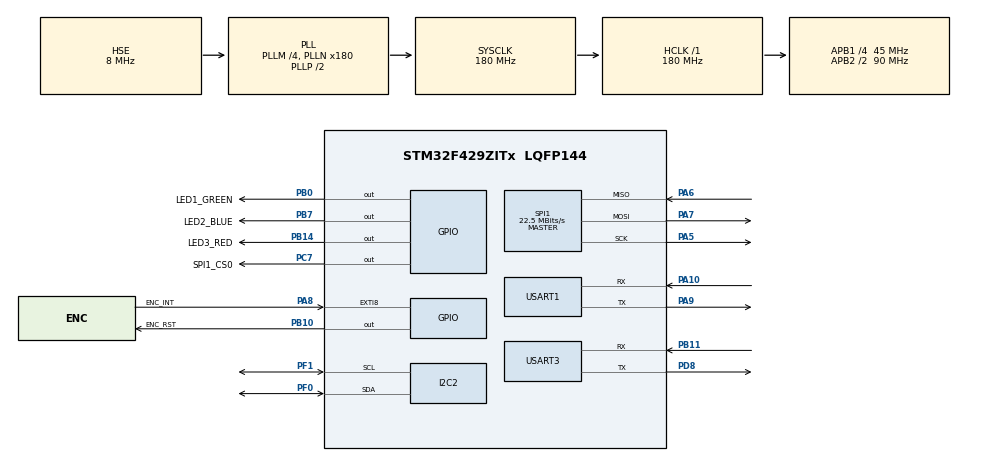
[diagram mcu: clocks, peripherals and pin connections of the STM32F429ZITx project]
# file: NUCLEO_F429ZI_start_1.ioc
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Mcu.Family=STM32F4
Mcu.Name=STM32F429ZITx
Mcu.Package=LQFP144
NVIC.EXTI9_5_IRQn=true\:0\:0\:false\:false\:true\:true
NVIC.PriorityGroup=NVIC_PRIORITYGROUP_4
PA10.Mode=Asynchronous
PA10.Signal=USART1_RX
PA5.Mode=Full_Duplex_Master
PA5.Signal=SPI1_SCK
PA6.Mode=Full_Duplex_Master
PA6.Signal=SPI1_MISO
PA7.Mode=Full_Duplex_Master
PA7.Signal=SPI1_MOSI
PA8.GPIO_Label=ENC_INT
PA8.GPIO_ModeDefaultEXTI=GPIO_MODE_IT_FALLING
PA8.GPIO_PuPd=GPIO_NOPULL
PA8.Signal=GPXTI8
PA9.Mode=Asynchronous
PA9.Signal=USART1_TX
PB0.GPIO_Label=LED1_GREEN
PB0.Signal=GPIO_Output
PB10.GPIO_Label=ENC_RST
PB10.GPIO_PuPd=GPIO_NOPULL
PB10.PinState=GPIO_PIN_SET
PB10.Signal=GPIO_Output
PB11.Mode=Asynchronous
PB11.Signal=USART3_RX
PB14.GPIO_Label=LED3_RED
PB14.Signal=GPIO_Output
PB7.GPIO_Label=LED2_BLUE
PB7.Signal=GPIO_Output
PC7.GPIO_Label=SPI1_CS0
PC7.Signal=GPIO_Output
PD8.Mode=Asynchronous
PD8.Signal=USART3_TX
PF0.Mode=I2C
PF0.Signal=I2C2_SDA
PF1.Mode=I2C
PF1.Signal=I2C2_SCL
PH0/OSC_IN.Mode=HSE-External-Clock-Source
PH0/OSC_IN.Signal=RCC_OSC_IN
PH1/OSC_OUT.Mode=HSE-External-Clock-Source
PH1/OSC_OUT.Signal=RCC_OSC_OUT
ProjectManager.HeapSize=0x200
ProjectManager.StackSize=0x400
ProjectManager.TargetToolchain=Other Toolchains (GPDSC)
RCC.48MHZClocksFreq_Value=90000000
RCC.AHBFreq_Value=180000000
RCC.APB1CLKDivider=RCC_HCLK_DIV4
RCC.APB1Freq_Value=45000000
RCC.APB1TimFreq_Value=90000000
RCC.APB2CLKDivider=RCC_HCLK_DIV2
RCC.APB2Freq_Value=90000000
RCC.APB2TimFreq_Value=180000000
RCC.CortexFreq_Value=180000000
RCC.HCLKFreq_Value=180000000
RCC.HSE_VALUE=8000000
RCC.HSI_VALUE=16000000
RCC.LSE_VALUE=32768
RCC.PLLM=4
RCC.PLLN=180
RCC.PLLSourceVirtual=RCC_PLLSOURCE_HSE
RCC.SYSCLKFreq_VALUE=180000000
RCC.SYSCLKSource=RCC_SYSCLKSOURCE_PLLCLK
RCC.VCOOutputFreq_Value=360000000
SPI1.BaudRatePrescaler=SPI_BAUDRATEPRESCALER_4
SPI1.CalculateBaudRate=22.5 MBits/s
SPI1.Direction=SPI_DIRECTION_2LINES
SPI1.Mode=SPI_MODE_MASTER
SPI1.VirtualType=VM_MASTER
USART1.VirtualMode=VM_ASYNC
USART3.VirtualMode=VM_ASYNC
board=NUCLEO_F429ZI_start_1

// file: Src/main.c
/**
  ******************************************************************************
  * @file           : main.c
  * @brief          : Main program body
  ******************************************************************************
  ** This notice applies to any and all portions of this file
  * that are not between comment pairs USER CODE BEGIN and
  * USER CODE END. Other portions of this file, whether
  * inserted by the user or by software development tools
  * are owned by their respective copyright owners.
  *
  * COPYRIGHT(c) 2018 STMicroelectronics
  *
  * Redistribution and use in source and binary forms, with or without modification,
  * are permitted provided that the following conditions are met:
  *   1. Redistributions of source code must retain the above copyright notice,
  *      this list of conditions and the following disclaimer.
  *   2. Redistributions in binary form must reproduce the above copyright notice,
  *      this list of conditions and the following disclaimer in the documentation
  *      and/or other materials provided with the distribution.
  *   3. Neither the name of STMicroelectronics nor the names of its contributors
  *      may be used to endorse or promote products derived from this software
  *      without specific prior written permission.
  *
  * THIS SOFTWARE IS PROVIDED BY THE COPYRIGHT HOLDERS AND CONTRIBUTORS "AS IS"
  * AND ANY EXPRESS OR IMPLIED WARRANTIES, INCLUDING, BUT NOT LIMITED TO, THE
  * IMPLIED WARRANTIES OF MERCHANTABILITY AND FITNESS FOR A PARTICULAR PURPOSE ARE
  * DISCLAIMED. IN NO EVENT SHALL THE COPYRIGHT HOLDER OR CONTRIBUTORS BE LIABLE
  * FOR ANY DIRECT, INDIRECT, INCIDENTAL, SPECIAL, EXEMPLARY, OR CONSEQUENTIAL
  * DAMAGES (INCLUDING, BUT NOT LIMITED TO, PROCUREMENT OF SUBSTITUTE GOODS OR
  * SERVICES; LOSS OF USE, DATA, OR PROFITS; OR BUSINESS INTERRUPTION) HOWEVER
  * CAUSED AND ON ANY THEORY OF LIABILITY, WHETHER IN CONTRACT, STRICT LIABILITY,
  * OR TORT (INCLUDING NEGLIGENCE OR OTHERWISE) ARISING IN ANY WAY OUT OF THE USE
  * OF THIS SOFTWARE, EVEN IF ADVISED OF THE POSSIBILITY OF SUCH DAMAGE.
  *
  ******************************************************************************
  */
#include "main.h"
#include "stm32f4xx_hal.h"
#include "i2c.h"
#include "spi.h"
#include "usart.h"
#include "gpio.h"

/* USER CODE BEGIN Includes */
#include <string.h>
#include <stdio.h>
#include <stdint.h>

#include "lwip/dhcp.h"
#include "lwip/opt.h"
#include "lwip/ip_addr.h"
#include "lwip/init.h"
#include "lwip/netif.h"
#include "lwip/tcp.h"
#include "netif/etharp.h"
//#include "lwip/lwip_timers.h"
#include "lwip/timeouts.h"
#include "ethernetif.h"
//#include "app_ethernet.h"
//#include "tcp_echoserver.h"

#include "msSTM32Function.h"
#include "msLWIPFunctions.h"

#include "BME280\msARM_BME280_SPIdriver.h"
#include "BME280\msARM_BME280_I2Cdriver.h"

#include "ENC28J60\msENC28J60_HAL.h"
#include "ENC28J60\enc28j60.h"

#include "msLWIP_testfn.h"

/* USER CODE END Includes */

/* USER CODE BEGIN PV */
/* Private variables ---------------------------------------------------------*/

uint64_t SysTick_Counter_A = 0;
//char message[] = "*** Hello Real World !!! *** \r\n";
int8_t bme280init_errorcode=0;
uint8_t i2cDATA=0;
volatile uint32_t last_tick=0;

//uint8_t spi_txarray[4] = { 0, 0, 0, 0 };
//uint8_t spi_rxarray[4] = { 0, 0, 0, 0 };

struct netif ENC_netif;
uint ETH_LinkStatus=0;

struct tcp_pcb * my_tcp_pcb;
struct ip4_addr my_dest_addr;

uint8_t my_message[]="HELLO TCP/IP WORLD !!!!";
uint8_t dhcp_addr_OK = 0;
uint8_t tcp_conn_OK = 0;

/* USER CODE END PV */

void SystemClock_Config(void);

/* USER CODE BEGIN PFP */
/* Private function prototypes -----------------------------------------------*/

/* USER CODE END PFP */

int main(void)
{

  /* MCU Configuration----------------------------------------------------------*/

  /* Reset of all peripherals, Initializes the Flash interface and the Systick. */
  HAL_Init();

  /* Configure the system clock */
  SystemClock_Config();

  /* Initialize all configured peripherals */
  MX_GPIO_Init();
  MX_SPI1_Init();
  MX_USART1_UART_Init();
  MX_I2C2_Init();
  MX_USART3_UART_Init();
  /* USER CODE BEGIN 2 */

  printf("********** PROGRAM STARTING **************\r\n");

	/****** Inicjalizacja BME280 ******/

	//bme280init_errorcode = msBME280_SPIinit(&msBME280_SPIdev);
	bme280init_errorcode = msBME280_I2Cinit(&msBME280_I2Cdev);

	/* Hard reset ENC28J60 */
	HAL_GPIO_WritePin(ENC_RST_GPIO_Port, ENC_RST_Pin, false);
	HAL_Delay(10);
	HAL_GPIO_WritePin(ENC_RST_GPIO_Port, ENC_RST_Pin, true);
	HAL_Delay(1000);

	/* Network init*/

	lwip_init();
	msLWIP_netif_config(&ENC_netif,ethernetif_init, netif_input, ethernetif_update_config);

	ipaddr_aton("192.168.0.13",&my_dest_addr); //Ustaw adres zdalnego hosta do polaczenia

  /* USER CODE END 2 */

  /* Infinite loop */
	while (1)
	{

  /* USER CODE BEGIN 3 */

		/* LWIP */

		/* Check link state, e.g. via MDIO communication with PHY */
		if (msLWIP_ENC_link_state_changed(&ENC_Handle, &ENC_netif))
		{
			if (netif_is_link_up(&ENC_netif))
			{
				netif_set_link_up(&ENC_netif);
			}
			else
			{
				netif_set_link_down(&ENC_netif);
			}
		}

		/* Read a received packet from the Ethernet buffers and send it
		to the lwIP for handling */

		ethernetif_input(&ENC_netif);

		/* Triggers actual ethernet transmission if transmission buffers are not empty */
		ethernet_transmit();

		/* Handle LWIP timeouts */
		sys_check_timeouts();

		/* your application goes here */

		if ((HAL_GetTick() - last_tick) > 10000)
		{
			last_tick = HAL_GetTick();
			printf("\r\n ****** Hello NUCLEO 2 World !!! ****** \r\n\r\n");
			printf("System Tick = %d\r\n", (int)HAL_GetTick());

	//		msBME280_SPIrslt = bme280_get_sensor_data(BME280_PRESS | BME280_HUM | BME280_TEMP, &msBME280_SPIdata, &msBME280_SPIdev);
	//
	//		printf("SPI_Temperature    = %7.2f°C\r\n", (double)msBME280_SPIdata.temperature / 100);
	//		printf("SPI_Pressure / npm = %7.2fhPa / %0.2fhPa\r\n", (double)msBME280_SPIdata.pressure / 10000, msBME280_SPIconv_pressure(&msBME280_SPIdata, 120));
	//		printf("SPI_Humidity       = %7.2f%%\r\n", (double)msBME280_SPIdata.humidity / 1000);
	//		printf("\r\n");

			msBME280_SPIrslt = bme280_get_sensor_data(BME280_PRESS | BME280_HUM | BME280_TEMP, &msBME280_I2Cdata, &msBME280_I2Cdev);

			printf("I2C_Temperature    = %7.2f°C\r\n", (double)msBME280_I2Cdata.temperature / 100);
			printf("I2C_Pressure / npm = %7.2fhPa / %0.2fhPa\r\n", (double)msBME280_I2Cdata.pressure / 10000, msBME280_SPIconv_pressure(&msBME280_I2Cdata, 120));
			printf("I2C_Humidity       = %7.2f%%\r\n", (double)msBME280_I2Cdata.humidity / 1000);
			printf("\r\n");

			/************************************************************************/
			/* Test komunikacji ENC28J60                                            */
			/************************************************************************/

			printf("ENC EREVID = %d\r\n",ENC_GetEREVID(&ENC_Handle));
			printf("ENC GetLinkStatus = ");
			msPrintf16Binary(ENC_Handle.LinkStatus);
			printf("\r\n");
			printf("System Tick = %d\r\n", (int)HAL_GetTick());

			HAL_GPIO_TogglePin(LED1_GREEN_GPIO_Port, LED1_GREEN_Pin);
			//HAL_GPIO_TogglePin(LED3_RED_GPIO_Port, LED3_RED_Pin);
		}

  }
  /* USER CODE END 3 */

}

void SystemClock_Config(void)
{

  RCC_OscInitTypeDef RCC_OscInitStruct;
  RCC_ClkInitTypeDef RCC_ClkInitStruct;

	/**Configure the main internal regulator output voltage
	*/
  __HAL_RCC_PWR_CLK_ENABLE();

  __HAL_PWR_VOLTAGESCALING_CONFIG(PWR_REGULATOR_VOLTAGE_SCALE1);

	/**Initializes the CPU, AHB and APB busses clocks
	*/
  RCC_OscInitStruct.OscillatorType = RCC_OSCILLATORTYPE_HSE;
  RCC_OscInitStruct.HSEState = RCC_HSE_BYPASS;
  RCC_OscInitStruct.PLL.PLLState = RCC_PLL_ON;
  RCC_OscInitStruct.PLL.PLLSource = RCC_PLLSOURCE_HSE;
  RCC_OscInitStruct.PLL.PLLM = 4;
  RCC_OscInitStruct.PLL.PLLN = 180;
  RCC_OscInitStruct.PLL.PLLP = RCC_PLLP_DIV2;
  RCC_OscInitStruct.PLL.PLLQ = 4;
  if (HAL_RCC_OscConfig(&RCC_OscInitStruct) != HAL_OK)
  {
	_Error_Handler(__FILE__, __LINE__);
  }

	/**Activate the Over-Drive mode
	*/
  if (HAL_PWREx_EnableOverDrive() != HAL_OK)
  {
	_Error_Handler(__FILE__, __LINE__);
  }

	/**Initializes the CPU, AHB and APB busses clocks
	*/
  RCC_ClkInitStruct.ClockType = RCC_CLOCKTYPE_HCLK|RCC_CLOCKTYPE_SYSCLK
							  |RCC_CLOCKTYPE_PCLK1|RCC_CLOCKTYPE_PCLK2;
  RCC_ClkInitStruct.SYSCLKSource = RCC_SYSCLKSOURCE_PLLCLK;
  RCC_ClkInitStruct.AHBCLKDivider = RCC_SYSCLK_DIV1;
  RCC_ClkInitStruct.APB1CLKDivider = RCC_HCLK_DIV4;
  RCC_ClkInitStruct.APB2CLKDivider = RCC_HCLK_DIV2;

  if (HAL_RCC_ClockConfig(&RCC_ClkInitStruct, FLASH_LATENCY_5) != HAL_OK)
  {
	_Error_Handler(__FILE__, __LINE__);
  }

	/**Configure the Systick interrupt time
	*/
  HAL_SYSTICK_Config(HAL_RCC_GetHCLKFreq()/1000);

	/**Configure the Systick
	*/
  HAL_SYSTICK_CLKSourceConfig(SYSTICK_CLKSOURCE_HCLK);

  /* SysTick_IRQn interrupt configuration */
  HAL_NVIC_SetPriority(SysTick_IRQn, 0, 0);
}

void _Error_Handler(char *file, int line)
{
  /* USER CODE BEGIN Error_Handler_Debug */
  /* User can add his own implementation to report the HAL error return state */
  while(1)
  {
	  printf("HAL odszed³ do krainy wiecznych restartów :-( \r\n");
  }
  /* USER CODE END Error_Handler_Debug */
}

/************************ (C) COPYRIGHT STMicroelectronics *****END OF FILE****/
